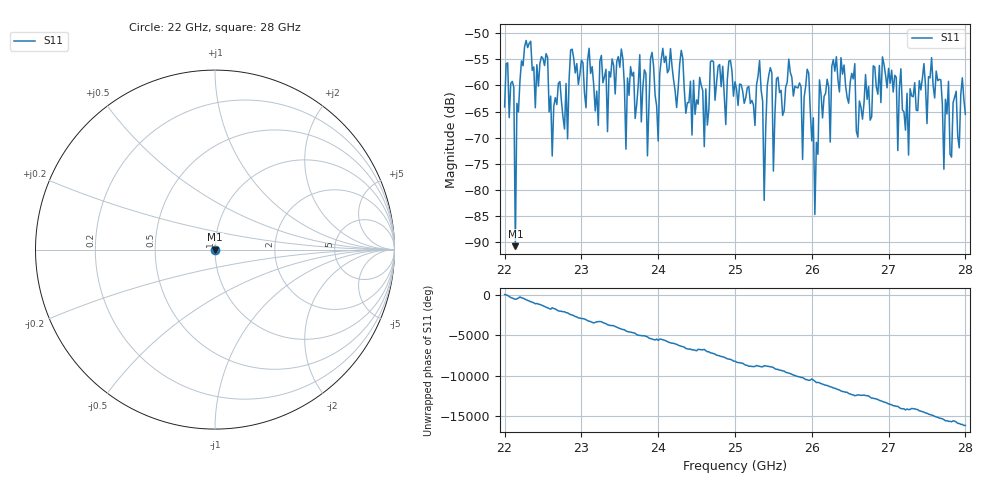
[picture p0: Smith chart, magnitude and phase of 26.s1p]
#  HZ  S  RI  R  50.00
! Rohde & Schwarz ZVA40 4Ports - Version 3.90 - 1145.1110k42 SN: 100403
! Date: 2023-10-04 06:57:34
! Measurement: S12
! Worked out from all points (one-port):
!   301 points, 22 GHz to 28 GHz, reference 50 ohm
!   lowest |S11| = -90.8 dB at 22.14 GHz (marker M1), VSWR 1.00, Z = 50 + j0.00224 ohm
!   |S11| at or under -10 dB: start of sweep to end of sweep
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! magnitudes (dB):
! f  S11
! 22 GHz  -64.1
! 22.12 GHz  -60.3
! 22.14 GHz  -90.8
! 22.28 GHz  -51.4
! 22.76 GHz  -66.0
! 23.5 GHz  -56.5
! 23.58 GHz  -72.2
! 23.76 GHz  -54.1
! 23.86 GHz  -73.5
! 23.92 GHz  -53.7
! 24 GHz  -70.6
! 24.06 GHz  -52.9
! 24.26 GHz  -60.5
! 25 GHz  -59.3
! 25.32 GHz  -55.2
! 25.38 GHz  -82.0
! 25.46 GHz  -56.6
! 25.5 GHz  -76.4
! 25.54 GHz  -58.7
! 25.76 GHz  -62.0
! 25.96 GHz  -57.7
! 26.04 GHz  -84.7
! 26.1 GHz  -58.9
! 26.5 GHz  -59.4
! 27.26 GHz  -73.3
! 27.56 GHz  -54.7
! 27.72 GHz  -76.1
! 28 GHz  -65.5
